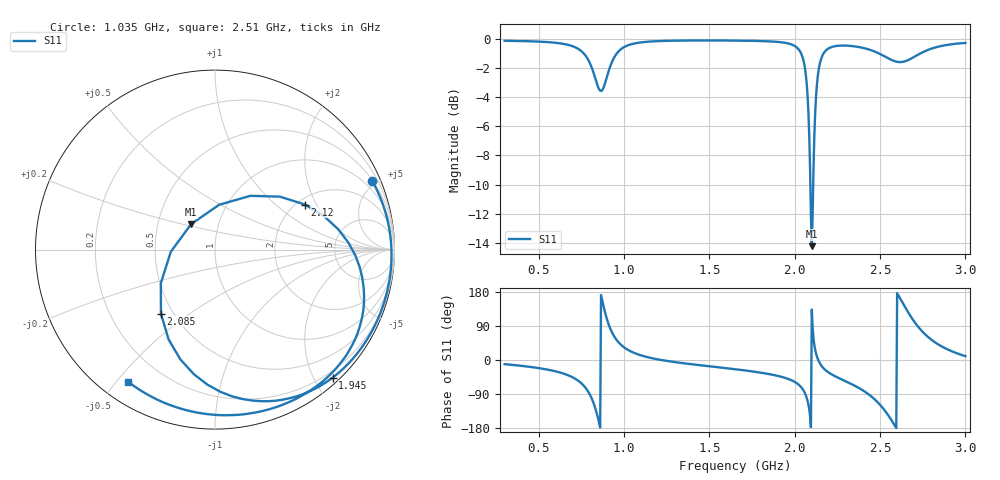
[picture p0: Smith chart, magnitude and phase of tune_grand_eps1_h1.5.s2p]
! grand-style spiral alone, coupling slab eps 1, 1.5 mm over the board
! simulated by sim/fixtures_fdtd.py (S12 = S21, S22 not computed)
# HZ S RI R 50
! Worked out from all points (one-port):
!   541 points, 300 MHz to 3 GHz, reference 50 ohm
!   lowest |S11| = -14.2 dB at 2.1 GHz (marker M1), VSWR 1.48, Z = 36.9 + j10.9 ohm
!   |S11| at or under -10 dB: 2.092 GHz to 2.108 GHz (16.64 MHz wide, 0.793 % of centre)
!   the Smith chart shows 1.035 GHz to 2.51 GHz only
!   S11 on the Smith chart (normalised r, x): 1.035 GHz: 0.53, +4.70; 1.945 GHz: 0.10, -2.28; 2.085 GHz: 0.43, -0.39; 2.12 GHz: 2.20, +1.61; 2.51 GHz: 0.08, -0.54
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3e8  0.9671 -0.1861  0 0  0 0  0 0
6.15e8  0.8215 -0.5097  0 0  0 0  0 0
7.5e8  0.4317 -0.7978  0 0  0 0  0 0
8.15e8  -0.2199 -0.752  0 0  0 0  0 0
8.6e8  -0.6638 -0.0191  0 0  0 0  0 0
9.15e8  0.036 0.7917  0 0  0 0  0 0
1.035e9  0.8747 0.3846  0 0  0 0  0 0
1.2e9  0.9818 0.0253  0 0  0 0  0 0
1.65e9  0.8992 -0.405  0 0  0 0  0 0
1.945e9  0.6561 -0.7127  0 0  0 0  0 0
2.05e9  0.1581 -0.8334  0 0  0 0  0 0
2.085e9  -0.3012 -0.3562  0 0  0 0  0 0
2.1e9  -0.1329 0.142  0 0  0 0  0 0
2.12e9  0.5009 0.2511  0 0  0 0  0 0
2.155e9  0.8279 -0.2096  0 0  0 0  0 0
2.26e9  0.6331 -0.7045  0 0  0 0  0 0
2.51e9  -0.4846 -0.7358  0 0  0 0  0 0
2.55e9  -0.719 -0.4648  0 0  0 0  0 0
2.62e9  -0.7841 0.2786  0 0  0 0  0 0
2.71e9  -0.0808 0.8701  0 0  0 0  0 0
2.83e9  0.6709 0.6534  0 0  0 0  0 0
3e9  0.9532 0.1696  0 0  0 0  0 0
